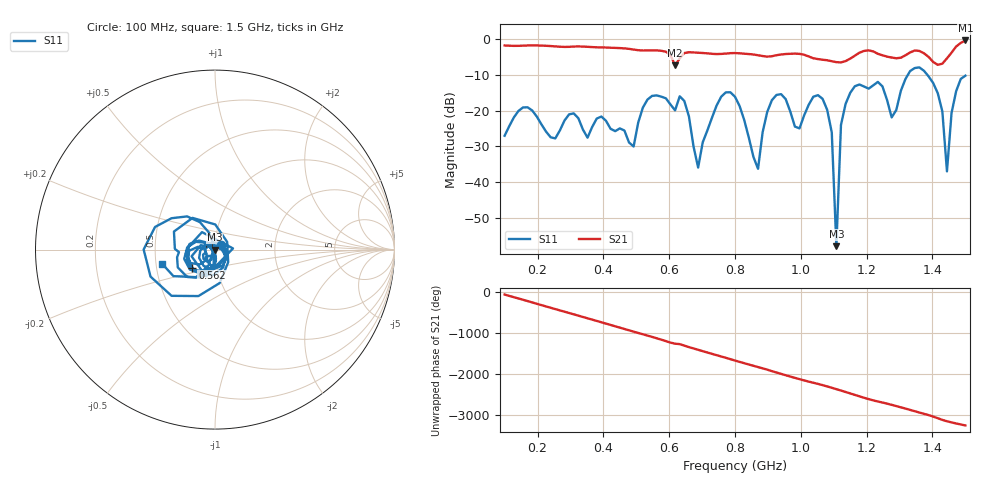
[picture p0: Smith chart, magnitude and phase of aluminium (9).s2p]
! NanoVNA-App
! Date: 2025-09-25 14:55:20
! Start: 100MHz Stop: 1,5GHz Points: 101
! S-Parameter data: F S11 S21 S12 S22
# Hz S RI R 50
!  Frequency  S11_Real  S11_Imag  S21_Real  S21_Imag  S12_Real  S12_Imag  S22_Real  S22_Imag
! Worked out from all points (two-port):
!   101 points, 100 MHz to 1.5 GHz, reference 50 ohm
!   highest |S21| = -0.53 dB at 1.5 GHz (marker M1); lowest = -7.4 dB at 618 MHz (marker M2)
!   |S21| within 3 dB of the highest: start of sweep to 583.1 MHz; 1.461 GHz to end of sweep (the widest 2 of 4)
!   lowest |S11| = -57.7 dB at 1.108 GHz (marker M3), VSWR 1.00, Z = 49.9 - j0.107 ohm
!   |S11| at or under -10 dB: start of sweep to 1.326 GHz; 1.384 GHz to end of sweep
!   S12 and S22 are empty: the file has one direction only
!   S11 on the Smith chart (normalised r, x): 100 MHz: 1.07, +0.06; 562 MHz: 0.76, -0.16; 1.5 GHz: 0.54, -0.09
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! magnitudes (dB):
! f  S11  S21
! 100 MHz  -27.0  -1.9
! 338 MHz  -25.3  -2.2
! 492 MHz  -30.0  -3.1
! 562 MHz  -15.8  -3.3
! 576 MHz  -16.1  -3.4
! 618 MHz  -20.0  -7.4
! 646 MHz  -17.3  -4.0
! 688 MHz  -35.9  -3.9
! 800 MHz  -16.2  -4.0
! 870 MHz  -36.2  -4.6
! 912 MHz  -17.1  -4.9
! 1.038 GHz  -16.2  -5.5
! 1.094 GHz  -26.1  -6.3
! 1.108 GHz  -57.7  -6.6
! 1.122 GHz  -24.0  -6.6
! 1.15 GHz  -15.1  -5.6
! 1.276 GHz  -21.9  -5.3
! 1.374 GHz  -8.9  -4.1
! 1.43 GHz  -20.3  -7.0
! 1.444 GHz  -36.9  -5.5
! 1.458 GHz  -20.6  -3.9
! 1.5 GHz  -10.3  -0.5
